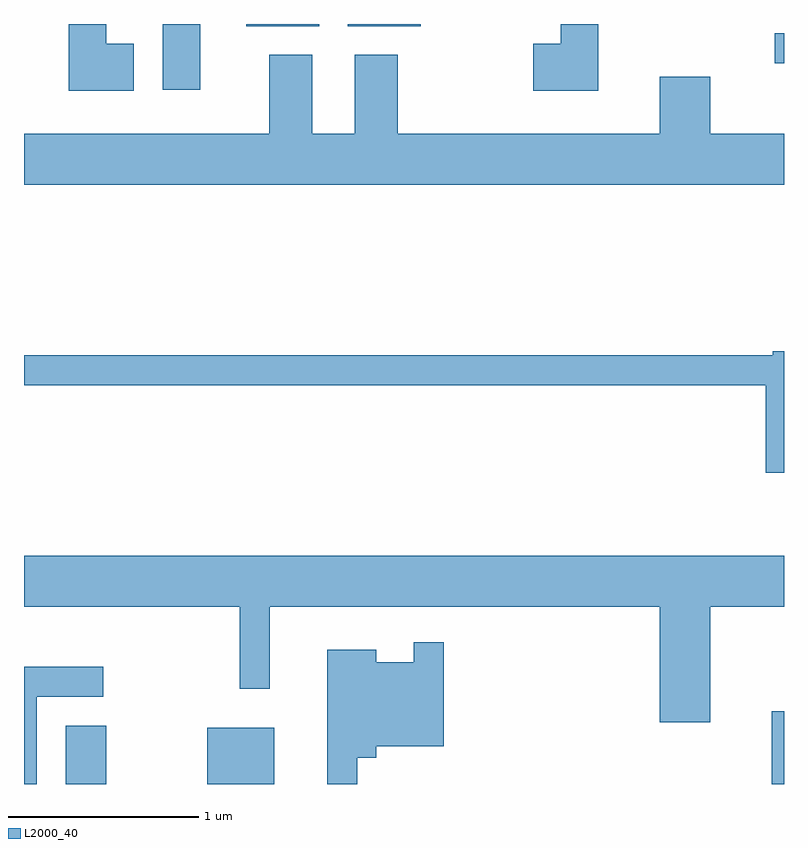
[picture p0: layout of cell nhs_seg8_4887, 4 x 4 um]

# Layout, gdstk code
import gdstk
lib = gdstk.Library(unit=1e-6, precision=1e-09)
def R(c, l, rs):  # rectangles x0, y0, x1, y1
    for r in rs: c.add(gdstk.rectangle(r[:2], r[2:], *l))
def P(c, l, *ps):  # polygons
    for p in ps: c.add(gdstk.Polygon(p, *l))
L2000_40 = (2000, 40)

nhs_seg8_4887 = lib.new_cell('nhs_seg8_4887')
R(nhs_seg8_4887, L2000_40, [(331.831,1864.342,332.044,1864.649), (332.576,1864.342,332.929,1864.639), (335.546,1864.342,335.611,1864.724), (332.341,1867.996,332.539,1868.342), (335.563,1868.136,335.611,1868.294), (332.781,1868.331,333.164,1868.342), (333.316,1868.331,333.699,1868.342)])
P(nhs_seg8_4887, L2000_40, [(334.634,1868.342),(334.436,1868.342),(334.436,1868.239),(334.291,1868.239),(334.291,1867.991),(334.634,1867.991)],
  [(332.189,1868.239),(332.044,1868.239),(332.044,1868.342),(331.846,1868.342),(331.846,1867.991),(332.189,1867.991)],
  [(335.611,1867.764),(335.224,1867.764),(335.224,1868.064),(334.956,1868.064),(334.956,1867.764),(333.579,1867.764),(333.579,1868.179),(333.351,1868.179),(333.351,1867.764),(333.129,1867.764),(333.129,1868.179),(332.901,1868.179),(332.901,1867.764),(331.611,1867.764),(331.611,1867.496),(335.611,1867.496)],
  [(335.611,1866.619),(335.551,1866.619),(335.551,1866.599),(331.611,1866.599),(331.611,1866.441),(335.516,1866.441),(335.516,1865.981),(335.611,1865.981)],
  [(335.224,1865.276),(335.611,1865.276),(335.611,1865.544),(331.611,1865.544),(331.611,1865.276),(332.746,1865.276),(332.746,1864.843),(332.904,1864.843),(332.904,1865.276),(334.956,1865.276),(334.956,1864.666),(335.224,1864.666)],
  [(333.364,1864.481),(333.464,1864.481),(333.464,1864.541),(333.819,1864.541),(333.819,1865.088),(333.661,1865.088),(333.661,1864.984),(333.464,1864.984),(333.464,1865.049),(333.206,1865.049),(333.206,1864.342),(333.364,1864.342)],
  [(331.679,1864.801),(332.028,1864.801),(332.028,1864.959),(331.611,1864.959),(331.611,1864.342),(331.679,1864.342)])

lib.write_gds('nhs_seg8_4887.gds')
